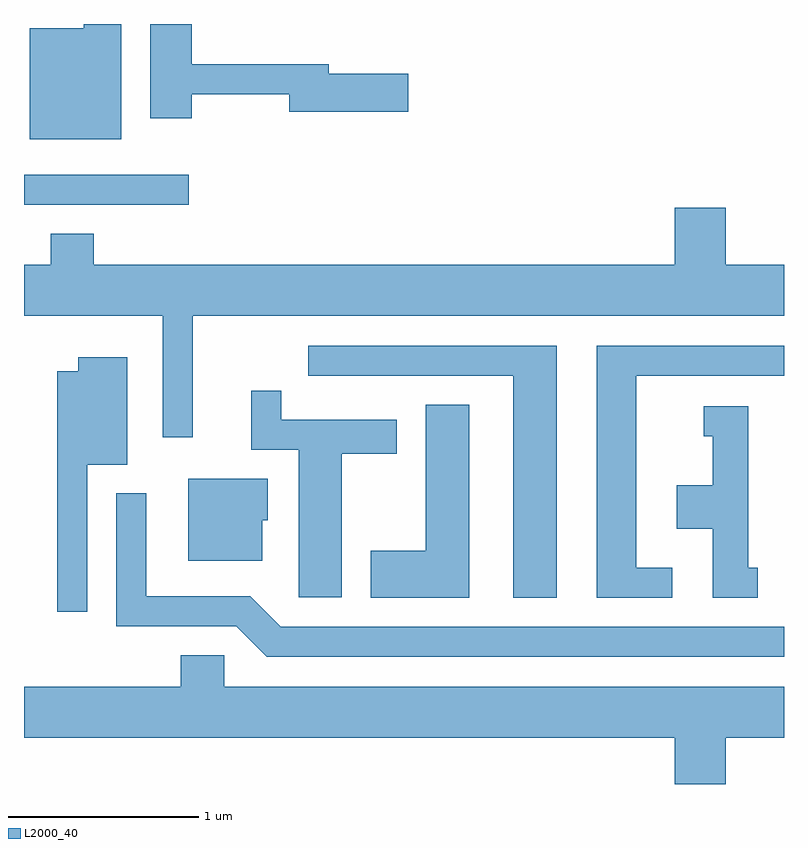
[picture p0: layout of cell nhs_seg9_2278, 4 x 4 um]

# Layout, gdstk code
import gdstk
lib = gdstk.Library(unit=1e-6, precision=1e-09)
def R(c, l, rs):  # rectangles x0, y0, x1, y1
    for r in rs: c.add(gdstk.rectangle(r[:2], r[2:], *l))
def P(c, l, *ps):  # polygons
    for p in ps: c.add(gdstk.Polygon(p, *l))
L2000_40 = (2000, 40)

nhs_seg9_2278 = lib.new_cell('nhs_seg9_2278')
R(nhs_seg9_2278, L2000_40, [(251.611,2023.481,252.478,2023.639)])
P(nhs_seg9_2278, L2000_40, [(252.494,2024.061),(253.006,2024.061),(253.006,2023.971),(253.634,2023.971),(253.634,2024.169),(253.214,2024.169),(253.214,2024.219),(252.494,2024.219),(252.494,2024.432),(252.276,2024.432),(252.276,2023.936),(252.494,2023.936)],
  [(252.124,2024.432),(251.926,2024.432),(251.926,2024.409),(251.641,2024.409),(251.641,2023.826),(252.124,2023.826)],
  [(252.499,2022.896),(255.611,2022.896),(255.611,2023.164),(255.304,2023.164),(255.304,2023.464),(255.036,2023.464),(255.036,2023.164),(251.979,2023.164),(251.979,2023.329),(251.751,2023.329),(251.751,2023.164),(251.611,2023.164),(251.611,2022.896),(252.341,2022.896),(252.341,2022.258),(252.499,2022.258)],
  [(254.414,2022.739),(253.108,2022.739),(253.108,2022.581),(254.186,2022.581),(254.186,2021.411),(254.414,2021.411)],
  [(255.023,2021.569),(254.834,2021.569),(254.834,2022.581),(255.611,2022.581),(255.611,2022.739),(254.626,2022.739),(254.626,2021.411),(255.023,2021.411)],
  [(251.944,2022.111),(252.154,2022.111),(252.154,2022.679),(251.896,2022.679),(251.896,2022.604),(251.786,2022.604),(251.786,2021.338),(251.944,2021.338)],
  [(253.284,2022.171),(253.574,2022.171),(253.574,2022.349),(252.964,2022.349),(252.964,2022.503),(252.806,2022.503),(252.806,2022.191),(253.056,2022.191),(253.056,2021.416),(253.284,2021.416)],
  [(253.954,2022.429),(253.726,2022.429),(253.726,2021.659),(253.436,2021.659),(253.436,2021.411),(253.954,2021.411)],
  [(255.473,2021.569),(255.424,2021.569),(255.424,2022.419),(255.188,2022.419),(255.188,2022.261),(255.236,2022.261),(255.236,2022.004),(255.046,2022.004),(255.046,2021.776),(255.236,2021.776),(255.236,2021.411),(255.473,2021.411)],
  [(252.864,2021.821),(252.894,2021.821),(252.894,2022.039),(252.476,2022.039),(252.476,2021.606),(252.864,2021.606)],
  [(255.611,2021.259),(252.962,2021.259),(252.802,2021.419),(252.254,2021.419),(252.254,2021.963),(252.096,2021.963),(252.096,2021.261),(252.729,2021.261),(252.889,2021.101),(255.611,2021.101)],
  [(255.304,2020.676),(255.611,2020.676),(255.611,2020.944),(252.664,2020.944),(252.664,2021.109),(252.436,2021.109),(252.436,2020.944),(251.611,2020.944),(251.611,2020.676),(255.036,2020.676),(255.036,2020.432),(255.304,2020.432)])

lib.write_gds('nhs_seg9_2278.gds')
